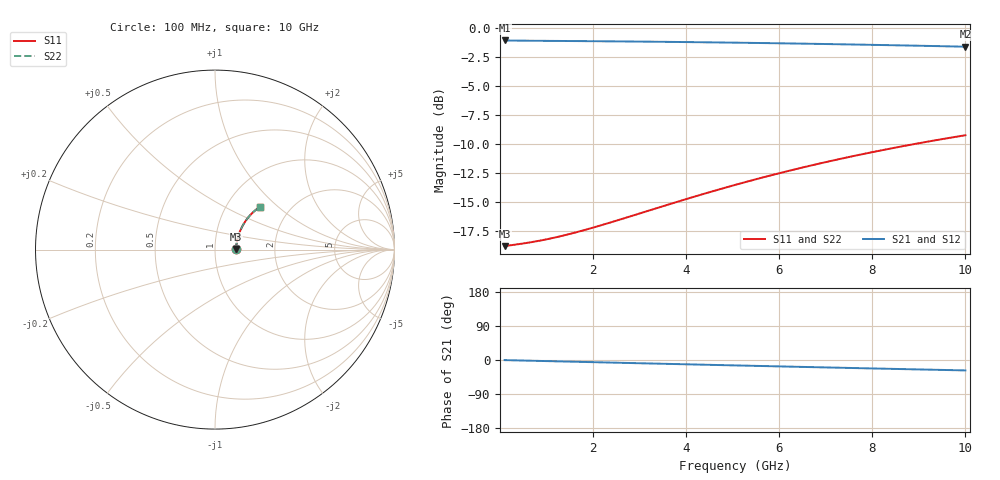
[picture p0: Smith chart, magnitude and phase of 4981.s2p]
# Hz S RI R 50.00
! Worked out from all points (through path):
!   100 points, 100 MHz to 10 GHz, reference 50 ohm
!   highest |S21| = -1.06 dB at 100 MHz (marker M1); lowest = -1.6 dB at 10 GHz (marker M2)
!   group delay of S21, straight-line fit = 7.65 ps
!   lowest |S11| = -18.8 dB at 100 MHz (marker M3), VSWR 1.26, Z = 63 + j0.381 ohm
!   |S11| at or under -10 dB: start of sweep to 8.878 GHz
!   |S22| runs from -18.8 to -9.2 dB; largest |S21 - S12| = 0
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1e8  0.1151 0.00298  0.8849 -0.00443  0.8849 -0.00443  0.1151 0.00298
6e8  0.1178 0.0178  0.8821 -0.0265  0.8821 -0.0265  0.1178 0.0178
8e8  0.1187 0.0236  0.8812 -0.0352  0.8812 -0.0352  0.1187 0.0236
1e9  0.1197 0.0295  0.8802 -0.044  0.8802 -0.044  0.1197 0.0295
1.2e9  0.1207 0.0353  0.8791 -0.0527  0.8791 -0.0527  0.1207 0.0353
1.4e9  0.1218 0.0411  0.878 -0.0614  0.878 -0.0614  0.1218 0.0411
1.8e9  0.1242 0.0527  0.8754 -0.0787  0.8754 -0.0787  0.1242 0.0527
2.1e9  0.1262 0.0612  0.8733 -0.0917  0.8733 -0.0917  0.1262 0.0612
2.4e9  0.1285 0.0697  0.8708 -0.1045  0.8708 -0.1045  0.1285 0.0697
3.4e9  0.1377 0.0974  0.861 -0.1466  0.861 -0.1466  0.1377 0.0974
4.3e9  0.1481 0.1212  0.8499 -0.1835  0.8499 -0.1835  0.1481 0.1212
5.1e9  0.1589 0.1414  0.8382 -0.2153  0.8382 -0.2153  0.1589 0.1414
5.5e9  0.1648 0.1511  0.8318 -0.2309  0.8318 -0.2309  0.1648 0.1511
5.9e9  0.1711 0.1605  0.825 -0.2461  0.825 -0.2461  0.1711 0.1605
6.3e9  0.1776 0.1696  0.8179 -0.261  0.8179 -0.261  0.1776 0.1696
6.7e9  0.1845 0.1784  0.8104 -0.2757  0.8104 -0.2757  0.1845 0.1784
7.1e9  0.1917 0.1869  0.8026 -0.29  0.8026 -0.29  0.1917 0.1869
7.5e9  0.1991 0.195  0.7945 -0.304  0.7945 -0.304  0.1991 0.195
7.9e9  0.2068 0.2029  0.7861 -0.3177  0.7861 -0.3177  0.2068 0.2029
8.4e9  0.2168 0.2122  0.7752 -0.3343  0.7752 -0.3343  0.2168 0.2122
9.2e9  0.2334 0.2259  0.757 -0.3598  0.757 -0.3598  0.2334 0.2259
1e10  0.2507 0.2382  0.738 -0.3838  0.738 -0.3838  0.2507 0.2382
